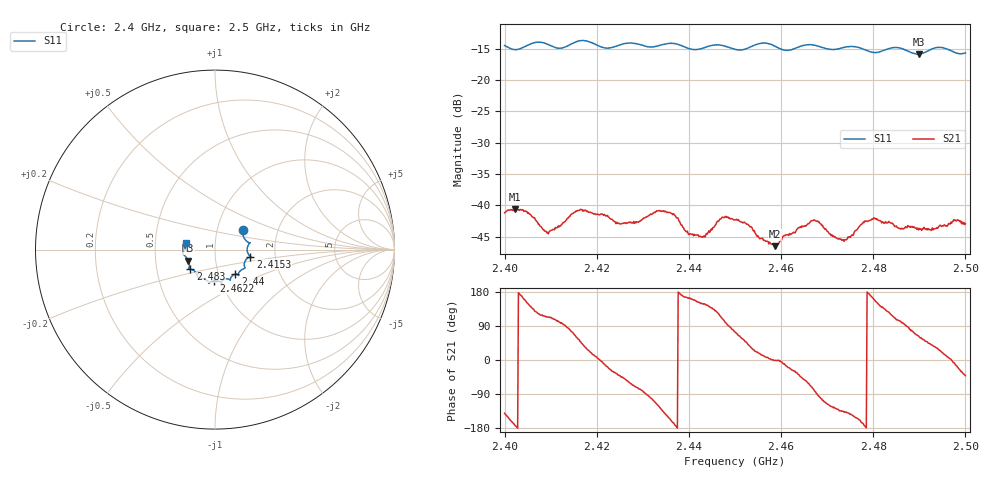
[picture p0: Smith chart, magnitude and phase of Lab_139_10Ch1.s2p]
# Hz S RI R 50
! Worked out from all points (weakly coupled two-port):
!   601 points, 2.4 GHz to 2.5 GHz, reference 50 ohm
!   highest |S21| = -40.61 dB at 2.4023 GHz (marker M1); lowest = -46.5 dB at 2.4587 GHz (marker M2)
!   lowest |S11| = -15.9 dB at 2.4898 GHz (marker M3), VSWR 1.38, Z = 36.8 - j4.63 ohm
!   |S11| at or under -10 dB: start of sweep to end of sweep
!   S12 and S22 are empty: the file has one direction only
!   S11 on the Smith chart (normalised r, x): 2.4 GHz: 1.33, +0.29; 2.4153 GHz: 1.48, -0.12; 2.44 GHz: 1.21, -0.34; 2.4622 GHz: 0.93, -0.33; 2.483 GHz: 0.74, -0.17; 2.5 GHz: 0.72, +0.06
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2.4e9  0.1551 0.1064  -0.00673 -0.00556  0 0  0 0
2.402333e9  0.1598 0.0693  -0.00927 -0.001  0 0  0 0
2.409167e9  0.1908 0.0328  -0.00247 0.00554  0 0  0 0
2.415333e9  0.1964 -0.0391  0.00382 0.00799  0 0  0 0
2.416667e9  0.2016 -0.043  0.00657 0.00653  0 0  0 0
2.425167e9  0.165 -0.0966  0.00513 -0.00494  0 0  0 0
2.433333e9  0.1312 -0.1339  -0.00459 -0.00782  0 0  0 0
2.4365e9  0.1322 -0.1442  -0.00818 -0.00213  0 0  0 0
2.44e9  0.1141 -0.1366  -0.00559 0.00174  0 0  0 0
2.443e9  0.0896 -0.1549  -0.00475 0.0029  0 0  0 0
2.447167e9  0.0842 -0.1689  -0.00275 0.00754  0 0  0 0
2.45e9  0.0649 -0.163  0.00212 0.00736  0 0  0 0
2.458667e9  0.0331 -0.1832  0.00474 -0.0001  0 0  0 0
2.462167e9  -0.00745 -0.1738  0.00536 -0.00246  0 0  0 0
2.466667e9  -0.0343 -0.1877  0.0024 -0.00718  0 0  0 0
2.473667e9  -0.0854 -0.1603  -0.00382 -0.00349  0 0  0 0
2.478167e9  -0.0994 -0.1429  -0.00749 -0.000765  0 0  0 0
2.483e9  -0.1374 -0.1094  -0.00454 0.00567  0 0  0 0
2.483333e9  -0.14 -0.1091  -0.00446 0.00598  0 0  0 0
2.489833e9  -0.1484 -0.0613  0.00285 0.00571  0 0  0 0
2.494167e9  -0.1805 -0.0226  0.00596 0.00322  0 0  0 0
2.5e9  -0.1597 0.0393  0.00536 -0.00474  0 0  0 0
